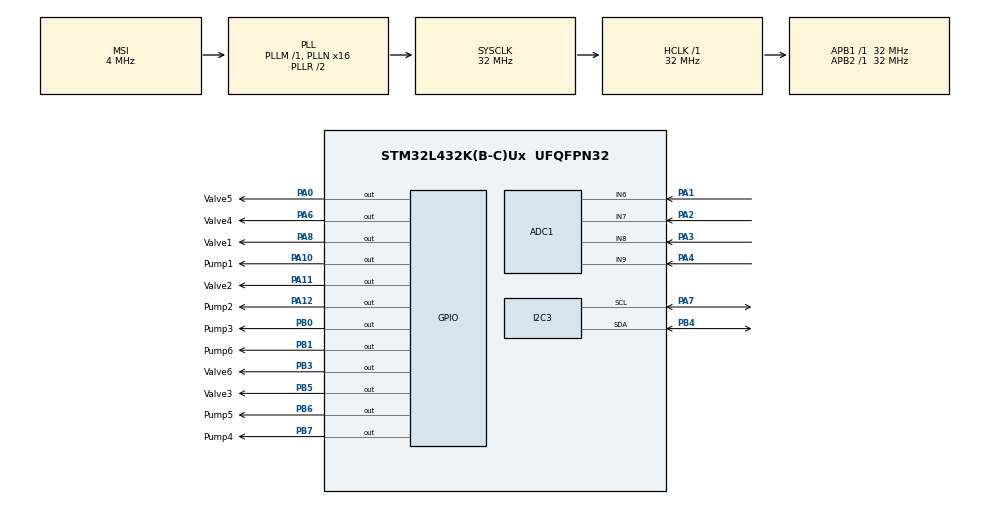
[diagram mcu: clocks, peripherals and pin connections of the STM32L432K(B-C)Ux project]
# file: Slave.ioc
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ADC1.Channel-0\#ChannelRegularConversion=ADC_CHANNEL_6
ADC1.NbrOfConversionFlag=1
ADC1.OffsetNumber-0\#ChannelRegularConversion=ADC_OFFSET_NONE
ADC1.Rank-0\#ChannelRegularConversion=1
ADC1.SamplingTime-0\#ChannelRegularConversion=ADC_SAMPLETIME_2CYCLES_5
ADC1.master=1
I2C3.OwnAddress=1
I2C3.Timing=0x00707CBB
Mcu.Family=STM32L4
Mcu.Name=STM32L432K(B-C)Ux
Mcu.Package=UFQFPN32
NVIC.PriorityGroup=NVIC_PRIORITYGROUP_4
PA0.GPIO_Label=Valve5
PA0.Signal=GPIO_Output
PA1.Signal=ADCx_IN6
PA10.GPIO_Label=Pump1
PA10.Signal=GPIO_Output
PA11.GPIO_Label=Valve2
PA11.Signal=GPIO_Output
PA12.GPIO_Label=Pump2
PA12.Signal=GPIO_Output
PA13\ (JTMS-SWDIO).GPIO_Label=SWDIO
PA13\ (JTMS-SWDIO).Mode=Serial_Wire
PA13\ (JTMS-SWDIO).Signal=SYS_JTMS-SWDIO
PA14\ (JTCK-SWCLK).GPIO_Label=SWCLK
PA14\ (JTCK-SWCLK).Mode=Serial_Wire
PA14\ (JTCK-SWCLK).Signal=SYS_JTCK-SWCLK
PA2.Signal=ADCx_IN7
PA3.Signal=ADCx_IN8
PA4.Signal=ADCx_IN9
PA6.GPIO_Label=Valve4
PA6.Signal=GPIO_Output
PA7.Mode=I2C
PA7.Signal=I2C3_SCL
PA8.GPIO_Label=Valve1
PA8.Signal=GPIO_Output
PB0.GPIO_Label=Pump3
PB0.Signal=GPIO_Output
PB1.GPIO_Label=Pump6
PB1.Signal=GPIO_Output
PB3\ (JTDO-TRACESWO).GPIO_Label=Valve6
PB3\ (JTDO-TRACESWO).Signal=GPIO_Output
PB4\ (NJTRST).Mode=I2C
PB4\ (NJTRST).Signal=I2C3_SDA
PB5.GPIO_Label=Valve3
PB5.Signal=GPIO_Output
PB6.GPIO_Label=Pump5
PB6.Signal=GPIO_Output
PB7.GPIO_Label=Pump4
PB7.Signal=GPIO_Output
PC14-OSC32_IN\ (PC14).Mode=LSE-External-Oscillator
PC14-OSC32_IN\ (PC14).Signal=RCC_OSC32_IN
PC15-OSC32_OUT\ (PC15).Mode=LSE-External-Oscillator
PC15-OSC32_OUT\ (PC15).Signal=RCC_OSC32_OUT
ProjectManager.HeapSize=0x200
ProjectManager.StackSize=0x400
ProjectManager.TargetToolchain=STM32CubeIDE
RCC.ADCFreq_Value=32000000
RCC.AHBFreq_Value=32000000
RCC.APB1Freq_Value=32000000
RCC.APB1TimFreq_Value=32000000
RCC.APB2Freq_Value=32000000
RCC.APB2TimFreq_Value=32000000
RCC.CortexFreq_Value=32000000
RCC.HCLKFreq_Value=32000000
RCC.HSE_VALUE=8000000
RCC.HSI16_VALUE=16000000
RCC.HSI48_VALUE=48000000
RCC.HSI_VALUE=16000000
RCC.MSI_VALUE=4000000
RCC.PLLMUL=RCC_PLLMUL_4
RCC.PLLN=16
RCC.PLLSAI1N=16
RCC.SYSCLKFreq_VALUE=32000000
RCC.SYSCLKSource=RCC_SYSCLKSOURCE_PLLCLK
RCC.USBFreq_Value=32000000
RCC.VCOOutputFreq_Value=64000000
SH.ADCx_IN6.0=ADC1_IN6,IN6-Single-Ended
SH.ADCx_IN7.0=ADC1_IN7,IN7-Single-Ended
SH.ADCx_IN8.0=ADC1_IN8,IN8-Single-Ended
SH.ADCx_IN9.0=ADC1_IN9,IN9-Single-Ended
board=NUCLEO-L432KC

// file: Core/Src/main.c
/* USER CODE BEGIN Header */
/**
 ******************************************************************************
 * @file           : main.c
 * @brief          : Main program body
 ******************************************************************************
 * @attention
 *
 * <h2><center>&copy; Copyright (c) 2022 STMicroelectronics.
 * All rights reserved.</center></h2>
 *
 * This software component is licensed by ST under BSD 3-Clause license,
 * the "License"; You may not use this file except in compliance with the
 * License. You may obtain a copy of the License at:
 *                        opensource.org/licenses/BSD-3-Clause
 *
 ******************************************************************************
 */
/* USER CODE END Header */
#include "main.h"

ADC_HandleTypeDef hadc1;

I2C_HandleTypeDef hi2c3;

void SystemClock_Config(void);
static void MX_GPIO_Init(void);
static void MX_I2C3_Init(void);
static void MX_ADC1_Init(void);

int main(void)
{

  /* MCU Configuration--------------------------------------------------------*/

  /* Reset of all peripherals, Initializes the Flash interface and the Systick. */
  HAL_Init();

  /* Configure the system clock */
  SystemClock_Config();

  /* Initialize all configured peripherals */
  MX_GPIO_Init();
  MX_I2C3_Init();
  MX_ADC1_Init();

  /* Infinite loop */
  /* USER CODE BEGIN WHILE */
	while (1) {
		uint8_t buf;

		GPIO_TypeDef *pump_ports[] = { Pump1_GPIO_Port, Pump2_GPIO_Port,
		Pump3_GPIO_Port, Pump4_GPIO_Port, Pump5_GPIO_Port,
		Pump6_GPIO_Port }, *valve_ports[] = { Valve1_GPIO_Port,
		Valve2_GPIO_Port, Valve3_GPIO_Port, Valve4_GPIO_Port,
		Valve5_GPIO_Port, Valve6_GPIO_Port };
		uint16_t pump_pins[] = { Pump1_Pin, Pump2_Pin, Pump3_Pin, Pump4_Pin,
		Pump5_Pin, Pump6_Pin }, valve_pins[] = { Valve1_Pin, Valve2_Pin,
		Valve3_Pin, Valve4_Pin, Valve5_Pin, Valve6_Pin };

		if (HAL_I2C_Slave_Receive(&hi2c3, &buf, sizeof buf, 1000) != HAL_OK)
			continue;

		if (buf & 1 << 7) {
			HAL_GPIO_WritePin(pump_ports[buf & ~(0b11 << 6)],
					pump_pins[buf & ~(0b11 << 6)],
					buf & 1 << 6 ? GPIO_PIN_SET : GPIO_PIN_RESET);
		} else {
			HAL_GPIO_WritePin(valve_ports[buf & ~(0b11 << 6)],
					valve_pins[buf & ~(0b11 << 6)],
					buf & 1 << 6 ? GPIO_PIN_SET : GPIO_PIN_RESET);
		}
    /* USER CODE END WHILE */

	}
}

void SystemClock_Config(void)
{
  RCC_OscInitTypeDef RCC_OscInitStruct = {0};
  RCC_ClkInitTypeDef RCC_ClkInitStruct = {0};

  /** Configure the main internal regulator output voltage
  */
  if (HAL_PWREx_ControlVoltageScaling(PWR_REGULATOR_VOLTAGE_SCALE1) != HAL_OK)
  {
    Error_Handler();
  }
  /** Configure LSE Drive Capability
  */
  HAL_PWR_EnableBkUpAccess();
  __HAL_RCC_LSEDRIVE_CONFIG(RCC_LSEDRIVE_LOW);
  /** Initializes the RCC Oscillators according to the specified parameters
  * in the RCC_OscInitTypeDef structure.
  */
  RCC_OscInitStruct.OscillatorType = RCC_OSCILLATORTYPE_LSE|RCC_OSCILLATORTYPE_MSI;
  RCC_OscInitStruct.LSEState = RCC_LSE_ON;
  RCC_OscInitStruct.MSIState = RCC_MSI_ON;
  RCC_OscInitStruct.MSICalibrationValue = 0;
  RCC_OscInitStruct.MSIClockRange = RCC_MSIRANGE_6;
  RCC_OscInitStruct.PLL.PLLState = RCC_PLL_ON;
  RCC_OscInitStruct.PLL.PLLSource = RCC_PLLSOURCE_MSI;
  RCC_OscInitStruct.PLL.PLLM = 1;
  RCC_OscInitStruct.PLL.PLLN = 16;
  RCC_OscInitStruct.PLL.PLLP = RCC_PLLP_DIV7;
  RCC_OscInitStruct.PLL.PLLQ = RCC_PLLQ_DIV2;
  RCC_OscInitStruct.PLL.PLLR = RCC_PLLR_DIV2;
  if (HAL_RCC_OscConfig(&RCC_OscInitStruct) != HAL_OK)
  {
    Error_Handler();
  }
  /** Initializes the CPU, AHB and APB buses clocks
  */
  RCC_ClkInitStruct.ClockType = RCC_CLOCKTYPE_HCLK|RCC_CLOCKTYPE_SYSCLK
                              |RCC_CLOCKTYPE_PCLK1|RCC_CLOCKTYPE_PCLK2;
  RCC_ClkInitStruct.SYSCLKSource = RCC_SYSCLKSOURCE_PLLCLK;
  RCC_ClkInitStruct.AHBCLKDivider = RCC_SYSCLK_DIV1;
  RCC_ClkInitStruct.APB1CLKDivider = RCC_HCLK_DIV1;
  RCC_ClkInitStruct.APB2CLKDivider = RCC_HCLK_DIV1;

  if (HAL_RCC_ClockConfig(&RCC_ClkInitStruct, FLASH_LATENCY_1) != HAL_OK)
  {
    Error_Handler();
  }
  /** Enable MSI Auto calibration
  */
  HAL_RCCEx_EnableMSIPLLMode();
}

static void MX_ADC1_Init(void)
{

  ADC_ChannelConfTypeDef sConfig = {0};

  /** Common config
  */
  hadc1.Instance = ADC1;
  hadc1.Init.ClockPrescaler = ADC_CLOCK_ASYNC_DIV1;
  hadc1.Init.Resolution = ADC_RESOLUTION_12B;
  hadc1.Init.DataAlign = ADC_DATAALIGN_RIGHT;
  hadc1.Init.ScanConvMode = ADC_SCAN_DISABLE;
  hadc1.Init.EOCSelection = ADC_EOC_SINGLE_CONV;
  hadc1.Init.LowPowerAutoWait = DISABLE;
  hadc1.Init.ContinuousConvMode = DISABLE;
  hadc1.Init.NbrOfConversion = 1;
  hadc1.Init.DiscontinuousConvMode = DISABLE;
  hadc1.Init.ExternalTrigConv = ADC_SOFTWARE_START;
  hadc1.Init.ExternalTrigConvEdge = ADC_EXTERNALTRIGCONVEDGE_NONE;
  hadc1.Init.DMAContinuousRequests = DISABLE;
  hadc1.Init.Overrun = ADC_OVR_DATA_PRESERVED;
  hadc1.Init.OversamplingMode = DISABLE;
  if (HAL_ADC_Init(&hadc1) != HAL_OK)
  {
    Error_Handler();
  }
  /** Configure Regular Channel
  */
  sConfig.Channel = ADC_CHANNEL_6;
  sConfig.Rank = ADC_REGULAR_RANK_1;
  sConfig.SamplingTime = ADC_SAMPLETIME_2CYCLES_5;
  sConfig.SingleDiff = ADC_SINGLE_ENDED;
  sConfig.OffsetNumber = ADC_OFFSET_NONE;
  sConfig.Offset = 0;
  if (HAL_ADC_ConfigChannel(&hadc1, &sConfig) != HAL_OK)
  {
    Error_Handler();
  }

}

static void MX_I2C3_Init(void)
{

  hi2c3.Instance = I2C3;
  hi2c3.Init.Timing = 0x00707CBB;
  hi2c3.Init.OwnAddress1 = 2;
  hi2c3.Init.AddressingMode = I2C_ADDRESSINGMODE_7BIT;
  hi2c3.Init.DualAddressMode = I2C_DUALADDRESS_DISABLE;
  hi2c3.Init.OwnAddress2 = 0;
  hi2c3.Init.OwnAddress2Masks = I2C_OA2_NOMASK;
  hi2c3.Init.GeneralCallMode = I2C_GENERALCALL_DISABLE;
  hi2c3.Init.NoStretchMode = I2C_NOSTRETCH_DISABLE;
  if (HAL_I2C_Init(&hi2c3) != HAL_OK)
  {
    Error_Handler();
  }
  /** Configure Analogue filter
  */
  if (HAL_I2CEx_ConfigAnalogFilter(&hi2c3, I2C_ANALOGFILTER_ENABLE) != HAL_OK)
  {
    Error_Handler();
  }
  /** Configure Digital filter
  */
  if (HAL_I2CEx_ConfigDigitalFilter(&hi2c3, 0) != HAL_OK)
  {
    Error_Handler();
  }

}

static void MX_GPIO_Init(void)
{
  GPIO_InitTypeDef GPIO_InitStruct = {0};

  /* GPIO Ports Clock Enable */
  __HAL_RCC_GPIOC_CLK_ENABLE();
  __HAL_RCC_GPIOA_CLK_ENABLE();
  __HAL_RCC_GPIOB_CLK_ENABLE();

  /*Configure GPIO pin Output Level */
  HAL_GPIO_WritePin(GPIOA, Valve5_Pin|Valve4_Pin|Valve1_Pin|Pump1_Pin
                          |Valve2_Pin|Pump2_Pin, GPIO_PIN_RESET);

  /*Configure GPIO pin Output Level */
  HAL_GPIO_WritePin(GPIOB, Pump3_Pin|Pump6_Pin|Valve6_Pin|Valve3_Pin
                          |Pump5_Pin|Pump4_Pin, GPIO_PIN_RESET);

  /*Configure GPIO pins : Valve5_Pin Valve4_Pin Valve1_Pin Pump1_Pin
                           Valve2_Pin Pump2_Pin */
  GPIO_InitStruct.Pin = Valve5_Pin|Valve4_Pin|Valve1_Pin|Pump1_Pin
                          |Valve2_Pin|Pump2_Pin;
  GPIO_InitStruct.Mode = GPIO_MODE_OUTPUT_PP;
  GPIO_InitStruct.Pull = GPIO_NOPULL;
  GPIO_InitStruct.Speed = GPIO_SPEED_FREQ_LOW;
  HAL_GPIO_Init(GPIOA, &GPIO_InitStruct);

  /*Configure GPIO pins : Pump3_Pin Pump6_Pin Valve6_Pin Valve3_Pin
                           Pump5_Pin Pump4_Pin */
  GPIO_InitStruct.Pin = Pump3_Pin|Pump6_Pin|Valve6_Pin|Valve3_Pin
                          |Pump5_Pin|Pump4_Pin;
  GPIO_InitStruct.Mode = GPIO_MODE_OUTPUT_PP;
  GPIO_InitStruct.Pull = GPIO_NOPULL;
  GPIO_InitStruct.Speed = GPIO_SPEED_FREQ_LOW;
  HAL_GPIO_Init(GPIOB, &GPIO_InitStruct);

}

void Error_Handler(void)
{
	__disable_irq();
	while (1) {
	}
}

/************************ (C) COPYRIGHT STMicroelectronics *****END OF FILE****/
